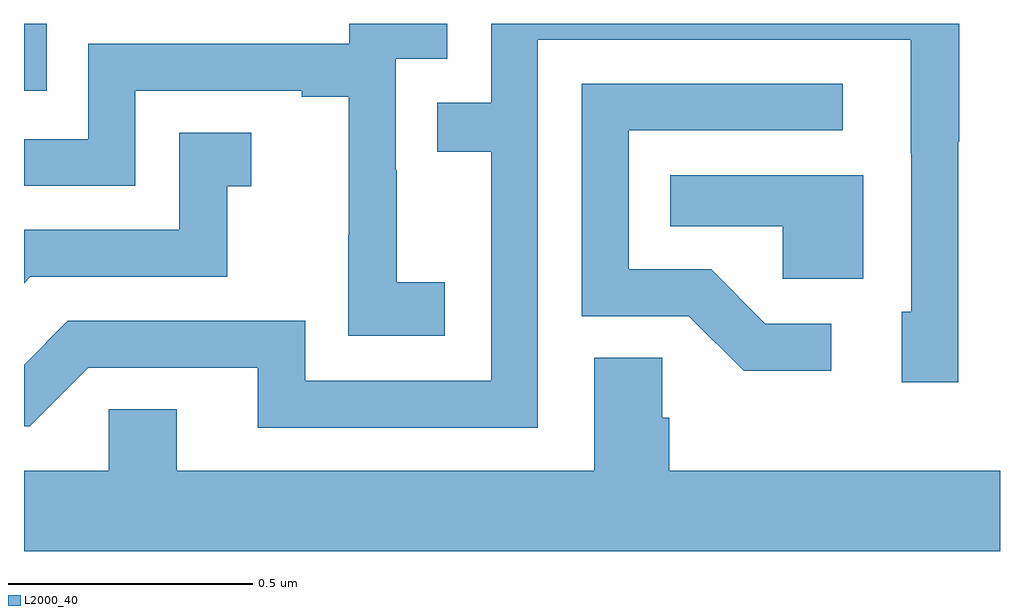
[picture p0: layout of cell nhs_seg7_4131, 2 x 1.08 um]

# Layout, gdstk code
import gdstk
lib = gdstk.Library(unit=1e-6, precision=1e-09)
def R(c, l, rs):  # rectangles x0, y0, x1, y1
    for r in rs: c.add(gdstk.rectangle(r[:2], r[2:], *l))
def P(c, l, *ps):  # polygons
    for p in ps: c.add(gdstk.Polygon(p, *l))
L2000_40 = (2000, 40)

nhs_seg7_4131 = lib.new_cell('nhs_seg7_4131')
R(nhs_seg7_4131, L2000_40, [(168,1030.863,168.047,1031)])
P(nhs_seg7_4131, L2000_40, [(169.053,1030.968),(169.817,1030.968),(169.817,1030.735),(169.818,1030.735),(169.818,1030.41),(169.799,1030.41),(169.799,1030.266),(169.914,1030.266),(169.914,1030.759),(169.917,1030.759),(169.917,1031),(168.957,1031),(168.957,1030.839),(168.847,1030.839),(168.847,1030.738),(168.957,1030.738),(168.957,1030.269),(168.576,1030.269),(168.576,1030.392),(168.09,1030.392),(168,1030.302),(168,1030.176),(168.012,1030.176),(168.132,1030.296),(168.479,1030.296),(168.479,1030.173),(169.053,1030.173)],
  [(168.862,1030.471),(168.764,1030.471),(168.764,1030.7),(168.762,1030.7),(168.762,1030.929),(168.867,1030.929),(168.867,1031),(168.666,1031),(168.666,1030.959),(168.132,1030.959),(168.132,1030.764),(168,1030.764),(168,1030.668),(168.228,1030.668),(168.228,1030.863),(168.569,1030.863),(168.569,1030.851),(168.665,1030.851),(168.665,1030.567),(168.664,1030.567),(168.664,1030.361),(168.862,1030.361)],
  [(169.654,1030.386),(169.519,1030.386),(169.408,1030.497),(169.239,1030.497),(169.239,1030.782),(169.678,1030.782),(169.678,1030.878),(169.143,1030.878),(169.143,1030.401),(169.362,1030.401),(169.475,1030.289),(169.654,1030.289)],
  [(168.013,1030.482),(168.417,1030.482),(168.417,1030.667),(168.466,1030.667),(168.466,1030.777),(168.318,1030.777),(168.318,1030.578),(168,1030.578),(168,1030.469)],
  [(169.72,1030.69),(169.324,1030.69),(169.324,1030.586),(169.555,1030.586),(169.555,1030.478),(169.72,1030.478)],
  [(170,1030.084),(169.322,1030.084),(169.322,1030.193),(169.308,1030.193),(169.308,1030.316),(169.169,1030.316),(169.169,1030.084),(168.313,1030.084),(168.313,1030.211),(168.174,1030.211),(168.174,1030.084),(168,1030.084),(168,1029.92),(170,1029.92)])

lib.write_gds('nhs_seg7_4131.gds')
